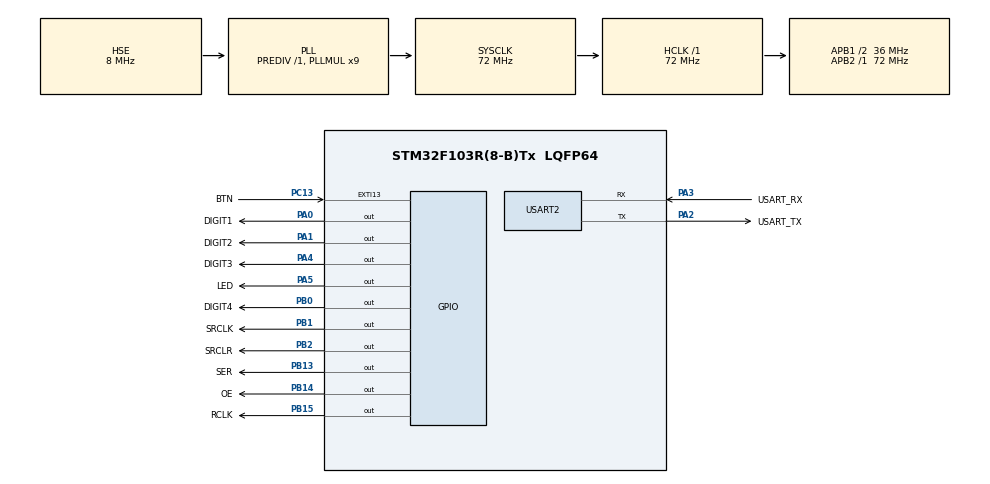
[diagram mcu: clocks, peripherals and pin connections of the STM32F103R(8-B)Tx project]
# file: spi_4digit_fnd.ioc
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Mcu.Family=STM32F1
Mcu.Name=STM32F103R(8-B)Tx
Mcu.Package=LQFP64
NVIC.EXTI15_10_IRQn=true\:0\:0\:false\:false\:true\:true\:true\:true
NVIC.PriorityGroup=NVIC_PRIORITYGROUP_4
NVIC.USART2_IRQn=true\:0\:0\:false\:false\:true\:true\:true\:true
PA0-WKUP.GPIO_Label=DIGIT1
PA0-WKUP.Signal=GPIO_Output
PA1.GPIO_Label=DIGIT2
PA1.Signal=GPIO_Output
PA13.GPIO_Label=TMS
PA13.Mode=Serial_Wire
PA13.Signal=SYS_JTMS-SWDIO
PA14.GPIO_Label=TCK
PA14.Mode=Serial_Wire
PA14.Signal=SYS_JTCK-SWCLK
PA2.GPIO_Label=USART_TX
PA2.GPIO_Mode=GPIO_MODE_AF_PP
PA2.GPIO_PuPd=GPIO_NOPULL
PA2.GPIO_Speed=GPIO_SPEED_FREQ_LOW
PA2.Mode=Asynchronous
PA2.Signal=USART2_TX
PA3.GPIO_Label=USART_RX
PA3.GPIO_Mode=GPIO_MODE_AF_PP
PA3.GPIO_PuPd=GPIO_NOPULL
PA3.GPIO_Speed=GPIO_SPEED_FREQ_LOW
PA3.Mode=Asynchronous
PA3.Signal=USART2_RX
PA4.GPIO_Label=DIGIT3
PA4.Signal=GPIO_Output
PA5.GPIO_Label=LED
PA5.GPIO_ModeDefaultOutputPP=GPIO_MODE_OUTPUT_PP
PA5.GPIO_PuPd=GPIO_NOPULL
PA5.GPIO_Speed=GPIO_SPEED_FREQ_LOW
PA5.Signal=GPIO_Output
PB0.GPIO_Label=DIGIT4
PB0.Signal=GPIO_Output
PB1.GPIO_Label=SRCLK
PB1.Signal=GPIO_Output
PB13.GPIO_Label=SER
PB13.Signal=GPIO_Output
PB14.GPIO_Label=OE
PB14.Signal=GPIO_Output
PB15.GPIO_Label=RCLK
PB15.Signal=GPIO_Output
PB2.GPIO_Label=SRCLR
PB2.PinState=GPIO_PIN_SET
PB2.Signal=GPIO_Output
PB3.GPIO_Label=SWO
PB3.Signal=SYS_JTDO-TRACESWO
PC13-TAMPER-RTC.GPIO_Label=BTN
PC13-TAMPER-RTC.GPIO_PuPd=GPIO_NOPULL
PC13-TAMPER-RTC.Signal=GPXTI13
PC14-OSC32_IN.Mode=LSE-External-Oscillator
PC14-OSC32_IN.Signal=RCC_OSC32_IN
PC15-OSC32_OUT.Mode=LSE-External-Oscillator
PC15-OSC32_OUT.Signal=RCC_OSC32_OUT
PD0-OSC_IN.Mode=HSE-External-Clock-Source
PD0-OSC_IN.Signal=RCC_OSC_IN
PD1-OSC_OUT.Mode=HSE-External-Clock-Source
PD1-OSC_OUT.Signal=RCC_OSC_OUT
ProjectManager.HeapSize=0x200
ProjectManager.StackSize=0x400
ProjectManager.TargetToolchain=STM32CubeIDE
RCC.AHBFreq_Value=72000000
RCC.APB1CLKDivider=RCC_HCLK_DIV2
RCC.APB1Freq_Value=36000000
RCC.APB1TimFreq_Value=72000000
RCC.APB2Freq_Value=72000000
RCC.APB2TimFreq_Value=72000000
RCC.HCLKFreq_Value=72000000
RCC.PLLMUL=RCC_PLL_MUL9
RCC.PLLSourceVirtual=RCC_PLLSOURCE_HSE
RCC.RTCClockSelection=RCC_RTCCLKSOURCE_LSE
RCC.SYSCLKFreq_VALUE=72000000
RCC.SYSCLKSource=RCC_SYSCLKSOURCE_PLLCLK
RCC.USBFreq_Value=72000000
USART2.VirtualMode=VM_ASYNC
board=NUCLEO-F103RB

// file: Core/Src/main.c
/* USER CODE BEGIN Header */
/**
  ******************************************************************************
  * @file           : main.c
  * @brief          : Main program body
  ******************************************************************************
  * @attention
  *
  * Copyright (c) 2025 STMicroelectronics.
  * All rights reserved.
  *
  * This software is licensed under terms that can be found in the LICENSE file
  * in the root directory of this software component.
  * If no LICENSE file comes with this software, it is provided AS-IS.
  *
  ******************************************************************************
  */
/* USER CODE END Header */
#include "main.h"
#include "stm32f1xx_hal.h"

#define TIME_WINDOW_MS 1U
#define DIGIT_DELAY_MS 2U
/* USER CODE BEGIN Includes */
// 74HC595 제어 핀(main.h 매핑)
#define SRCLR_PIN    SRCLR_Pin
#define SRCLR_PORT   SRCLR_GPIO_Port
#define OE_PIN       OE_Pin
#define OE_PORT      OE_GPIO_Port
#define SER_PIN      SER_Pin
#define SER_PORT     SER_GPIO_Port
#define SRCLK_PIN    SRCLK_Pin
#define SRCLK_PORT   SRCLK_GPIO_Port
#define RCLK_PIN     RCLK_Pin
#define RCLK_PORT    RCLK_GPIO_Port
/* USER CODE END Includes */

UART_HandleTypeDef huart2;

/* USER CODE BEGIN PV */
static const uint8_t segMap[10] = {
  0x3F, // 0
  0x06, // 1
  0x5B, // 2
  0x4F, // 3
  0x66, // 4
  0x6D, // 5
  0x7D, // 6
  0x07, // 7
  0x7F, // 8
  0x6F  // 9
};

static uint16_t counter = 0;

// 4자리 선택 핀
GPIO_TypeDef* digitPort[4] = {DIGIT1_GPIO_Port, DIGIT2_GPIO_Port, DIGIT3_GPIO_Port, DIGIT4_GPIO_Port};
uint16_t digitPin[4]     = {DIGIT1_Pin, DIGIT2_Pin, DIGIT3_Pin, DIGIT4_Pin};
/* USER CODE END PV */

void SystemClock_Config(void);
static void MX_GPIO_Init(void);
static void MX_USART2_UART_Init(void);

/* USER CODE BEGIN 0 */
// 74HC595으로 세그먼트 출력
static void shiftOut(uint8_t data)
{
  // 시프트 비트 전송 (MSB first)
  for (int8_t bit = 7; bit >= 0; bit--) {
    HAL_GPIO_WritePin(SER_PORT, SER_PIN, (data & (1 << bit)) ? GPIO_PIN_SET : GPIO_PIN_RESET);
    HAL_GPIO_WritePin(SRCLK_PORT, SRCLK_PIN, GPIO_PIN_SET);
    HAL_GPIO_WritePin(SRCLK_PORT, SRCLK_PIN, GPIO_PIN_RESET);
  }
  // 래치 펄스
  HAL_GPIO_WritePin(RCLK_PORT, RCLK_PIN, GPIO_PIN_SET);
  HAL_GPIO_WritePin(RCLK_PORT, RCLK_PIN, GPIO_PIN_RESET);
}

/* 모든 Digit OFF (Common-cathode HIGH) */
static void allDigitsOff(void)
{
  for (int i = 0; i < 4; i++) {
    HAL_GPIO_WritePin(digitPort[i], digitPin[i], GPIO_PIN_SET);
  }
}

/* 특정 Digit 선택 (LOW = ON) */
static void selectDigit(uint8_t idx)
{
  allDigitsOff();
  if (idx < 4) {
    HAL_GPIO_WritePin(digitPort[idx], digitPin[idx], GPIO_PIN_RESET);
  }
}

/* 숫자 멀티플렉싱 표시 */
static void displayNumber(uint16_t num)
{
  uint8_t d0 = (num / 1000) % 10;
  uint8_t d1 = (num /  100) % 10;
  uint8_t d2 = (num /   10) % 10;
  uint8_t d3 =  num         % 10;
  uint8_t digits[4] = { d0, d1, d2, d3 };

  for (uint8_t i = 0; i < 4; i++) {
    selectDigit(i);
    shiftOut(segMap[digits[i]]);
    HAL_Delay(DIGIT_DELAY_MS);
  }
  allDigitsOff();
}
/* USER CODE END 0 */

int main(void)
{

  /* MCU Configuration--------------------------------------------------------*/
  /* Reset of all peripherals, Initializes the Flash interface and the Systick. */
  HAL_Init();

  /* Configure the system clock */
  SystemClock_Config();

  /* Initialize all configured peripherals */
  MX_GPIO_Init();
  MX_USART2_UART_Init();
  /* USER CODE BEGIN 2 */
  // 초기 SRCLR, OE 설정
  HAL_GPIO_WritePin(SRCLR_GPIO_Port, SRCLR_Pin, GPIO_PIN_SET);
  HAL_GPIO_WritePin(OE_GPIO_Port, OE_Pin, GPIO_PIN_RESET);
  /* USER CODE END 2 */

  /* Infinite loop */
  while (1)
  {
	uint32_t start = HAL_GetTick();
	while ((HAL_GetTick() - start) < TIME_WINDOW_MS)
	{
		displayNumber(counter);
	}
	counter = (counter < 9999) ? counter + 1 : 0;
  }
}

void SystemClock_Config(void)
{
  RCC_OscInitTypeDef RCC_OscInitStruct = {0};
  RCC_ClkInitTypeDef RCC_ClkInitStruct = {0};

  /** Initializes the RCC Oscillators according to the specified parameters
  * in the RCC_OscInitTypeDef structure.
  */
  RCC_OscInitStruct.OscillatorType = RCC_OSCILLATORTYPE_HSE;
  RCC_OscInitStruct.HSEState = RCC_HSE_BYPASS;
  RCC_OscInitStruct.HSEPredivValue = RCC_HSE_PREDIV_DIV1;
  RCC_OscInitStruct.HSIState = RCC_HSI_ON;
  RCC_OscInitStruct.PLL.PLLState = RCC_PLL_ON;
  RCC_OscInitStruct.PLL.PLLSource = RCC_PLLSOURCE_HSE;
  RCC_OscInitStruct.PLL.PLLMUL = RCC_PLL_MUL9;
  if (HAL_RCC_OscConfig(&RCC_OscInitStruct) != HAL_OK)
  {
    Error_Handler();
  }

  /** Initializes the CPU, AHB and APB buses clocks
  */
  RCC_ClkInitStruct.ClockType = RCC_CLOCKTYPE_HCLK|RCC_CLOCKTYPE_SYSCLK
                              |RCC_CLOCKTYPE_PCLK1|RCC_CLOCKTYPE_PCLK2;
  RCC_ClkInitStruct.SYSCLKSource = RCC_SYSCLKSOURCE_PLLCLK;
  RCC_ClkInitStruct.AHBCLKDivider = RCC_SYSCLK_DIV1;
  RCC_ClkInitStruct.APB1CLKDivider = RCC_HCLK_DIV2;
  RCC_ClkInitStruct.APB2CLKDivider = RCC_HCLK_DIV1;

  if (HAL_RCC_ClockConfig(&RCC_ClkInitStruct, FLASH_LATENCY_2) != HAL_OK)
  {
    Error_Handler();
  }
}

static void MX_USART2_UART_Init(void)
{

  huart2.Instance = USART2;
  huart2.Init.BaudRate = 115200;
  huart2.Init.WordLength = UART_WORDLENGTH_8B;
  huart2.Init.StopBits = UART_STOPBITS_1;
  huart2.Init.Parity = UART_PARITY_NONE;
  huart2.Init.Mode = UART_MODE_TX_RX;
  huart2.Init.HwFlowCtl = UART_HWCONTROL_NONE;
  huart2.Init.OverSampling = UART_OVERSAMPLING_16;
  if (HAL_UART_Init(&huart2) != HAL_OK)
  {
    Error_Handler();
  }

}

static void MX_GPIO_Init(void)
{
  GPIO_InitTypeDef GPIO_InitStruct = {0};

  /* GPIO Ports Clock Enable */
  __HAL_RCC_GPIOC_CLK_ENABLE();
  __HAL_RCC_GPIOD_CLK_ENABLE();
  __HAL_RCC_GPIOA_CLK_ENABLE();
  __HAL_RCC_GPIOB_CLK_ENABLE();

  /*Configure GPIO pin Output Level */
  HAL_GPIO_WritePin(GPIOA, DIGIT1_Pin|DIGIT2_Pin|DIGIT3_Pin|LED_Pin, GPIO_PIN_RESET);

  /*Configure GPIO pin Output Level */
  HAL_GPIO_WritePin(GPIOB, DIGIT4_Pin|SRCLK_Pin|SER_Pin|OE_Pin|RCLK_Pin, GPIO_PIN_RESET);

  /*Configure GPIO pin Output Level */
  HAL_GPIO_WritePin(SRCLR_GPIO_Port, SRCLR_Pin, GPIO_PIN_SET);

  /*Configure GPIO pin : BTN_Pin */
  GPIO_InitStruct.Pin = BTN_Pin;
  GPIO_InitStruct.Mode = GPIO_MODE_IT_RISING;
  GPIO_InitStruct.Pull = GPIO_NOPULL;
  HAL_GPIO_Init(BTN_GPIO_Port, &GPIO_InitStruct);

  /*Configure GPIO pins : DIGIT1_Pin DIGIT2_Pin DIGIT3_Pin LED_Pin */
  GPIO_InitStruct.Pin = DIGIT1_Pin|DIGIT2_Pin|DIGIT3_Pin|LED_Pin;
  GPIO_InitStruct.Mode = GPIO_MODE_OUTPUT_PP;
  GPIO_InitStruct.Pull = GPIO_NOPULL;
  GPIO_InitStruct.Speed = GPIO_SPEED_FREQ_LOW;
  HAL_GPIO_Init(GPIOA, &GPIO_InitStruct);

  /*Configure GPIO pins : DIGIT4_Pin SRCLK_Pin SRCLR_Pin SER_Pin
                           OE_Pin RCLK_Pin */
  GPIO_InitStruct.Pin = DIGIT4_Pin|SRCLK_Pin|SRCLR_Pin|SER_Pin
                          |OE_Pin|RCLK_Pin;
  GPIO_InitStruct.Mode = GPIO_MODE_OUTPUT_PP;
  GPIO_InitStruct.Pull = GPIO_NOPULL;
  GPIO_InitStruct.Speed = GPIO_SPEED_FREQ_LOW;
  HAL_GPIO_Init(GPIOB, &GPIO_InitStruct);

  /* EXTI interrupt init*/
  HAL_NVIC_SetPriority(EXTI15_10_IRQn, 0, 0);
  HAL_NVIC_EnableIRQ(EXTI15_10_IRQn);

}

void Error_Handler(void)
{
  __disable_irq();
  while (1)
  {
  }
}
